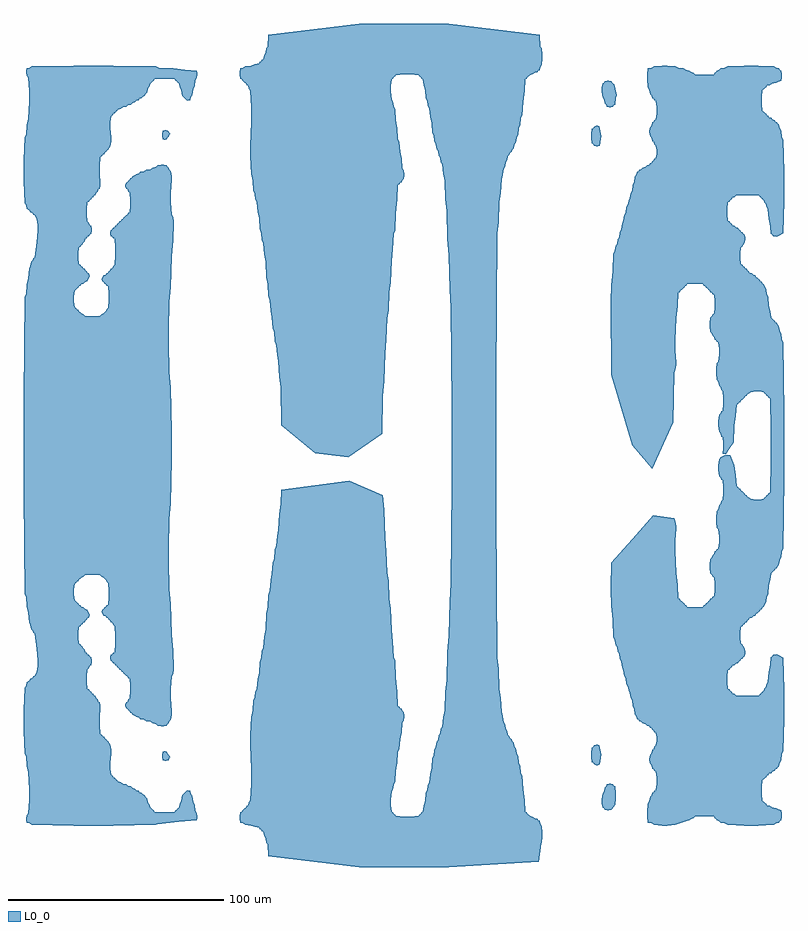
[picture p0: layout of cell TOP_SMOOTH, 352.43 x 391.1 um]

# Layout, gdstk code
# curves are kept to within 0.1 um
import gdstk
lib = gdstk.Library(unit=1e-6, precision=1e-09)
def P(c, l, *ps):  # polygons
    for p in ps: c.add(gdstk.Polygon(p, *l))
L0_0 = (0, 0)

top_smooth = lib.new_cell('TOP_SMOOTH')
P(top_smooth, L0_0, [(264.05,-385.05),(264.383,-384.717),(264.717,-382.017),(264.717,-379.983),(264.383,-376.95),(263.717,-375.95),(263.383,-374.617),(262.717,-374.283),(262.383,-373.617),(261.05,-373.283),(260.05,-372.617),(258.717,-372.283),(258.383,-371.617),(257.717,-371.283),(257.383,-370.617),(256.717,-370.283),(256.383,-364.95),(255.717,-359.95),(255.383,-353.617),(254.717,-352.283),(254.383,-349.283),(253.717,-347.617),(253.383,-344.617),(252.717,-343.283),(252.383,-340.95),(251.717,-339.95),(251.383,-338.283),(250.717,-337.617),(250.383,-336.617),(249.717,-336.283),(249.383,-335.283),(248.717,-334.617),(248.383,-332.95),(247.717,-331.95),(247.383,-329.95),(246.717,-328.95),(246.383,-325.95),(245.717,-323.95),(245.383,-317.617),(244.717,-313.283),(244.383,-303.95),(243.717,-298.95),(243.383,-231.65),(243.383,-169.35),(243.717,-102.05),(244.383,-97.05),(244.717,-87.717),(245.383,-83.383),(245.717,-77.05),(246.383,-75.05),(246.717,-72.05),(247.383,-71.05),(247.717,-69.05),(248.383,-68.05),(248.717,-66.383),(249.383,-65.717),(249.717,-64.717),(250.383,-64.383),(250.717,-63.383),(251.383,-62.717),(251.717,-61.05),(252.383,-60.05),(252.717,-57.717),(253.383,-56.383),(253.717,-53.383),(254.383,-51.717),(254.717,-48.717),(255.383,-47.383),(255.717,-41.05),(256.383,-36.05),(256.717,-30.717),(257.383,-30.383),(257.717,-29.717),(258.383,-29.383),(258.717,-28.717),(260.05,-28.383),(261.05,-27.717),(262.383,-27.383),(262.717,-26.717),(263.383,-26.383),(263.717,-25.05),(264.383,-24.05),(264.717,-21.017),(264.717,-18.983),(264.383,-16.283),(263.717,-15.617),(263.383,-9.95),(221.35,-4.95),(179.65,-4.95),(137.617,-9.95),(137.283,-15.617),(136.617,-16.283),(136.283,-18.283),(135.617,-19.617),(135.283,-21.283),(134.617,-21.617),(134.283,-22.283),(133.617,-22.617),(133.283,-23.283),(131.283,-23.617),(129.617,-24.283),(126.95,-24.617),(125.95,-25.283),(124.617,-25.617),(124.283,-27.317),(124.283,-28.683),(124.617,-30.383),(125.283,-30.717),(125.617,-31.383),(126.283,-31.717),(126.617,-32.383),(127.283,-32.717),(127.617,-33.383),(128.283,-33.717),(128.617,-35.05),(129.283,-36.05),(129.617,-43.683),(129.617,-50.317),(129.283,-61.65),(129.283,-66.35),(129.617,-74.383),(130.283,-77.717),(130.617,-82.383),(131.283,-83.717),(131.617,-86.383),(132.283,-87.717),(132.617,-92.05),(133.283,-95.05),(133.617,-100.05),(134.283,-102.05),(134.617,-105.383),(135.283,-106.717),(135.617,-111.717),(136.283,-115.383),(136.617,-122.383),(137.283,-125.717),(137.617,-131.05),(138.283,-133.05),(138.617,-138.05),(139.283,-141.05),(139.617,-146.05),(140.283,-148.05),(140.617,-152.05),(141.283,-154.05),(141.617,-158.717),(142.283,-161.383),(142.617,-168.717),(143.283,-173.383),(143.617,-191.017),(159.317,-203.983),(174.683,-205.983),(190.383,-195.017),(190.717,-177.383),(191.383,-170.717),(191.717,-157.717),(192.383,-151.383),(192.717,-141.383),(193.383,-137.717),(193.717,-129.383),(194.383,-124.717),(194.717,-114.717),(195.383,-109.383),(195.717,-102.383),(196.383,-100.717),(196.717,-92.717),(197.383,-86.383),(197.717,-79.717),(198.383,-79.383),(198.717,-78.717),(199.383,-78.383),(199.717,-77.383),(200.383,-76.717),(200.717,-75.35),(200.383,-72.95),(199.717,-71.95),(199.383,-67.617),(198.717,-64.283),(198.383,-59.617),(197.717,-58.283),(197.383,-53.283),(196.717,-49.617),(196.383,-44.617),(195.717,-43.283),(195.383,-40.95),(194.717,-39.95),(194.383,-36.317),(194.383,-33.683),(194.717,-30.717),(195.383,-30.383),(195.717,-29.717),(196.383,-29.383),(196.717,-28.717),(200.35,-28.383),(203.65,-28.383),(207.283,-28.717),(207.617,-29.383),(208.283,-29.717),(208.617,-30.383),(209.283,-30.717),(209.617,-33.383),(210.283,-35.717),(210.617,-39.383),(211.283,-40.717),(211.617,-43.05),(212.283,-44.05),(212.617,-48.05),(213.283,-51.05),(213.617,-55.383),(214.283,-56.717),(214.617,-59.383),(215.283,-60.717),(215.617,-63.05),(216.283,-64.05),(216.617,-66.05),(217.283,-67.05),(217.617,-69.05),(218.283,-70.05),(218.617,-74.383),(219.283,-77.717),(219.617,-86.383),(220.283,-91.717),(220.617,-104.717),(221.283,-112.383),(221.617,-128.383),(222.283,-136.717),(222.617,-182.017),(222.617,-218.983),(222.283,-264.283),(221.617,-272.617),(221.283,-288.617),(220.617,-296.283),(220.283,-309.283),(219.617,-314.617),(219.283,-323.283),(218.617,-326.617),(218.283,-330.95),(217.617,-331.95),(217.283,-333.95),(216.617,-334.95),(216.283,-336.95),(215.617,-337.95),(215.283,-340.283),(214.617,-341.617),(214.283,-344.283),(213.617,-345.617),(213.283,-349.95),(212.617,-352.95),(212.283,-356.95),(211.617,-357.95),(211.283,-360.283),(210.617,-361.617),(210.283,-365.283),(209.617,-367.617),(209.283,-370.283),(208.617,-370.617),(208.283,-371.283),(207.617,-371.617),(207.283,-372.283),(203.65,-372.617),(200.35,-372.617),(196.717,-372.283),(196.383,-371.617),(195.717,-371.283),(195.383,-370.617),(194.717,-370.283),(194.383,-367.317),(194.383,-364.683),(194.717,-361.05),(195.383,-360.05),(195.717,-357.717),(196.383,-356.383),(196.717,-351.383),(197.383,-347.717),(197.717,-342.717),(198.383,-341.383),(198.717,-336.717),(199.383,-333.383),(199.717,-329.05),(200.383,-328.05),(200.717,-325.65),(200.383,-324.283),(199.717,-323.617),(199.383,-322.617),(198.717,-322.283),(198.383,-321.617),(197.717,-321.283),(197.383,-314.617),(196.717,-308.283),(196.383,-300.283),(195.717,-298.617),(195.383,-291.617),(194.717,-286.283),(194.383,-276.283),(193.717,-271.617),(193.383,-263.283),(192.717,-259.617),(192.383,-249.617),(191.717,-243.283),(191.383,-230.283),(190.717,-223.617),(175.017,-216.95),(143.617,-220.95),(143.283,-227.617),(142.617,-232.283),(142.283,-239.617),(141.617,-242.283),(141.283,-246.95),(140.617,-248.95),(140.283,-252.95),(139.617,-254.95),(139.283,-259.95),(138.617,-262.95),(138.283,-267.95),(137.617,-269.95),(137.283,-275.283),(136.617,-278.617),(136.283,-285.617),(135.617,-289.283),(135.283,-294.283),(134.617,-295.617),(134.283,-298.95),(133.617,-300.95),(133.283,-305.95),(132.617,-308.95),(132.283,-313.283),(131.617,-314.617),(131.283,-317.283),(130.617,-318.617),(130.283,-323.283),(129.617,-326.617),(129.283,-334.65),(129.617,-357.317),(129.283,-364.95),(128.617,-365.95),(128.283,-367.283),(127.617,-367.617),(127.283,-368.283),(126.617,-368.617),(126.283,-369.283),(125.617,-369.617),(125.283,-370.283),(124.617,-370.617),(124.283,-372.317),(124.283,-373.683),(124.617,-375.383),(125.95,-375.717),(126.95,-376.383),(129.617,-376.717),(131.283,-377.383),(133.283,-377.717),(133.617,-378.383),(134.283,-378.717),(134.617,-379.383),(135.283,-379.717),(135.617,-381.383),(136.283,-382.717),(136.617,-384.717),(137.283,-385.383),(137.617,-391.05),(179.65,-396.05),(221.35,-396.05),(263.05,-393.55)],
  [(330.55,-375.05),(331.05,-374.717),(332.717,-374.383),(333.383,-373.717),(334.717,-373.383),(335.383,-372.717),(338.683,-372.383),(341.317,-372.383),(344.283,-372.717),(344.617,-373.383),(345.283,-373.717),(345.617,-374.383),(346.617,-374.717),(347.283,-375.383),(349.283,-375.717),(350.617,-376.383),(358.317,-376.717),(364.683,-376.717),(372.05,-376.383),(373.05,-375.717),(374.383,-375.383),(374.717,-374.717),(375.383,-374.383),(375.717,-372.683),(375.717,-371.317),(375.383,-369.617),(374.05,-369.283),(373.05,-368.617),(371.05,-368.283),(370.05,-367.617),(368.717,-367.283),(368.383,-366.617),(367.717,-366.283),(367.383,-365.617),(366.717,-365.283),(366.383,-361.983),(366.383,-359.017),(366.717,-355.717),(367.383,-355.383),(367.717,-354.717),(368.383,-354.383),(368.717,-353.717),(369.383,-353.383),(369.717,-352.717),(370.717,-352.383),(371.383,-351.717),(372.383,-351.383),(372.717,-350.717),(373.383,-350.383),(373.717,-349.717),(374.383,-349.383),(374.717,-347.717),(375.383,-346.383),(375.717,-343.717),(376.383,-342.383),(376.717,-327.35),(376.717,-313.65),(376.383,-298.95),(373.317,-297.283),(371.617,-297.617),(371.283,-298.283),(370.617,-298.617),(370.283,-302.283),(369.617,-305.617),(369.283,-309.95),(368.617,-310.95),(368.283,-312.617),(367.617,-313.283),(367.283,-314.283),(366.617,-314.617),(366.283,-315.283),(365.617,-315.617),(365.283,-316.283),(361.65,-316.617),(358.35,-316.617),(354.383,-316.283),(353.717,-315.617),(352.717,-315.283),(352.383,-314.617),(351.717,-314.283),(351.383,-313.617),(350.717,-313.283),(350.383,-310.317),(350.383,-307.683),(350.717,-304.717),(351.383,-304.383),(351.717,-303.717),(352.383,-303.383),(352.717,-302.717),(353.717,-302.383),(354.383,-301.717),(355.383,-301.383),(355.717,-300.717),(356.383,-300.383),(356.717,-299.717),(357.383,-299.383),(357.717,-298.717),(358.383,-298.383),(358.717,-297.017),(358.717,-295.983),(358.383,-294.283),(357.717,-293.617),(357.383,-292.617),(356.717,-292.283),(356.383,-289.65),(356.383,-287.35),(356.717,-284.717),(357.383,-284.383),(357.717,-283.717),(358.383,-283.383),(358.717,-282.717),(359.383,-282.383),(359.717,-281.717),(360.383,-281.383),(360.717,-280.717),(361.717,-280.383),(362.383,-279.717),(363.383,-279.383),(363.717,-278.717),(364.383,-278.383),(364.717,-277.717),(365.383,-277.383),(365.717,-276.717),(366.383,-276.383),(366.717,-275.717),(367.383,-275.383),(367.717,-274.05),(368.383,-273.05),(368.717,-270.717),(369.383,-269.383),(369.717,-265.383),(370.383,-262.717),(370.717,-259.717),(371.383,-259.383),(371.717,-258.717),(372.383,-258.383),(372.717,-257.717),(373.383,-257.383),(373.717,-256.383),(374.383,-255.717),(374.717,-253.717),(375.383,-252.383),(375.717,-249.717),(376.383,-248.383),(376.717,-216.017),(376.717,-184.983),(376.383,-152.617),(375.717,-151.283),(375.383,-148.617),(374.717,-147.283),(374.383,-145.283),(373.717,-144.617),(373.383,-143.617),(372.717,-143.283),(372.383,-142.617),(371.717,-142.283),(371.383,-141.617),(370.717,-141.283),(370.383,-138.283),(369.717,-135.617),(369.383,-131.617),(368.717,-130.283),(368.383,-127.95),(367.717,-126.95),(367.383,-125.617),(366.717,-125.283),(366.383,-124.617),(365.717,-124.283),(365.383,-123.617),(364.717,-123.283),(364.383,-122.617),(363.717,-122.283),(363.383,-121.617),(362.383,-121.283),(361.717,-120.617),(360.717,-120.283),(360.383,-119.617),(359.717,-119.283),(359.383,-118.617),(358.717,-118.283),(358.383,-117.617),(357.717,-117.283),(357.383,-116.617),(356.717,-116.283),(356.383,-113.65),(356.383,-111.35),(356.717,-108.717),(357.383,-108.383),(357.717,-107.383),(358.383,-106.717),(358.717,-105.017),(358.717,-103.983),(358.383,-102.617),(357.717,-102.283),(357.383,-101.617),(356.717,-101.283),(356.383,-100.617),(355.717,-100.283),(355.383,-99.617),(354.383,-99.283),(353.717,-98.617),(352.717,-98.283),(352.383,-97.617),(351.717,-97.283),(351.383,-96.617),(350.717,-96.283),(350.383,-93.317),(350.383,-90.683),(350.717,-87.717),(351.383,-87.383),(351.717,-86.717),(352.383,-86.383),(352.717,-85.717),(353.717,-85.383),(354.383,-84.717),(358.35,-84.383),(361.65,-84.383),(365.283,-84.717),(365.617,-85.383),(366.283,-85.717),(366.617,-86.383),(367.283,-86.717),(367.617,-87.717),(368.283,-88.383),(368.617,-90.05),(369.283,-91.05),(369.617,-95.383),(370.283,-98.717),(370.617,-102.383),(371.283,-102.717),(371.617,-103.383),(373.317,-103.717),(376.383,-102.05),(376.717,-87.35),(376.717,-73.65),(376.383,-58.617),(375.717,-57.283),(375.383,-54.617),(374.717,-53.283),(374.383,-51.617),(373.717,-51.283),(373.383,-50.617),(372.717,-50.283),(372.383,-49.617),(371.383,-49.283),(370.717,-48.617),(369.717,-48.283),(369.383,-47.617),(368.717,-47.283),(368.383,-46.617),(367.717,-46.283),(367.383,-45.617),(366.717,-45.283),(366.383,-41.983),(366.383,-39.017),(366.717,-35.717),(367.383,-35.383),(367.717,-34.717),(368.383,-34.383),(368.717,-33.717),(370.05,-33.383),(371.05,-32.717),(373.05,-32.383),(374.05,-31.717),(375.383,-31.383),(375.717,-29.683),(375.717,-28.317),(375.383,-26.617),(374.717,-26.283),(374.383,-25.617),(373.05,-25.283),(372.05,-24.617),(364.683,-24.283),(358.317,-24.283),(350.617,-24.617),(349.283,-25.283),(347.283,-25.617),(346.617,-26.283),(345.617,-26.617),(345.283,-27.283),(344.617,-27.617),(344.283,-28.283),(341.317,-28.617),(338.683,-28.617),(335.383,-28.283),(334.717,-27.617),(333.383,-27.283),(332.717,-26.617),(331.05,-26.283),(330.05,-25.617),(327.717,-25.283),(326.383,-24.617),(322.683,-24.283),(320.317,-24.283),(316.617,-24.617),(315.283,-25.283),(313.617,-25.617),(313.283,-28.317),(313.283,-30.683),(313.617,-34.383),(314.283,-35.717),(314.617,-37.717),(315.283,-38.383),(315.617,-39.383),(316.283,-39.717),(316.617,-40.383),(317.283,-40.717),(317.617,-43.683),(317.617,-46.317),(317.283,-49.283),(316.617,-49.617),(316.283,-50.283),(315.617,-50.617),(315.283,-51.95),(314.617,-52.95),(314.283,-54.65),(314.617,-57.05),(315.283,-58.05),(315.617,-59.383),(316.283,-59.717),(316.617,-60.717),(317.283,-61.383),(317.617,-63.683),(317.617,-65.317),(317.283,-67.283),(316.617,-67.617),(316.283,-68.283),(315.617,-68.617),(315.283,-69.283),(314.617,-69.617),(314.283,-70.283),(313.283,-70.617),(312.617,-71.283),(311.283,-71.617),(310.617,-72.283),(309.617,-72.617),(309.283,-73.283),(308.617,-73.617),(308.283,-74.95),(307.617,-75.95),(307.283,-78.283),(306.617,-79.617),(306.283,-82.283),(305.617,-83.617),(305.283,-85.95),(304.617,-86.95),(304.283,-88.95),(303.617,-89.95),(303.283,-92.283),(302.617,-93.617),(302.283,-96.283),(301.617,-97.617),(301.283,-100.283),(300.617,-101.617),(300.283,-103.95),(299.617,-104.95),(299.283,-106.95),(298.617,-107.95),(298.283,-110.283),(297.617,-111.617),(297.283,-119.617),(296.617,-126.283),(296.283,-133.65),(296.617,-167.683),(306.317,-200.317),(315.683,-211.317),(325.383,-189.683),(325.717,-166.717),(326.383,-165.383),(326.717,-163.017),(326.383,-156.317),(326.383,-151.683),(326.717,-141.383),(327.383,-135.717),(327.717,-129.717),(328.383,-129.383),(328.717,-128.717),(329.383,-128.383),(329.717,-127.717),(330.383,-127.383),(330.717,-126.717),(331.383,-126.383),(331.717,-125.717),(334.35,-125.383),(336.65,-125.383),(339.283,-125.717),(339.617,-126.383),(340.283,-126.717),(340.617,-127.383),(341.283,-127.717),(341.617,-128.383),(342.283,-128.717),(342.617,-129.383),(343.283,-129.717),(343.617,-130.383),(344.283,-130.717),(344.617,-133.683),(344.617,-136.317),(344.283,-139.283),(343.617,-139.617),(343.283,-140.617),(342.617,-141.283),(342.283,-143.65),(342.283,-145.35),(342.617,-147.717),(343.283,-148.383),(343.617,-149.717),(344.283,-150.383),(344.617,-151.383),(345.283,-151.717),(345.617,-152.383),(346.283,-152.717),(346.617,-155.683),(346.617,-158.317),(346.283,-161.617),(345.617,-162.283),(345.283,-164.983),(345.283,-167.017),(345.617,-170.05),(346.283,-171.05),(346.617,-172.717),(347.283,-173.383),(347.617,-174.717),(348.283,-175.383),(348.617,-178.683),(348.617,-181.317),(348.283,-184.283),(347.617,-184.617),(347.283,-185.617),(346.617,-186.283),(346.283,-188.983),(346.283,-191.017),(346.617,-194.05),(347.283,-195.05),(347.617,-196.383),(348.283,-196.717),(348.617,-199.35),(348.617,-201.65),(348.283,-204.283),(349.65,-204.617),(353.383,-199.017),(353.717,-191.383),(354.383,-186.717),(354.717,-181.717),(355.383,-181.383),(355.717,-180.717),(356.383,-180.383),(356.717,-179.717),(357.383,-179.383),(357.717,-178.717),(358.383,-178.383),(358.717,-177.717),(359.383,-177.383),(359.717,-176.717),(360.717,-176.383),(361.383,-175.717),(363.683,-175.383),(365.317,-175.383),(367.283,-175.717),(367.617,-176.383),(368.283,-176.717),(368.617,-177.383),(369.283,-177.717),(369.617,-178.383),(370.283,-178.717),(370.617,-193.35),(370.617,-207.65),(370.283,-222.283),(369.617,-222.617),(369.283,-223.283),(368.617,-223.617),(368.283,-224.283),(367.617,-224.617),(367.283,-225.283),(365.317,-225.617),(363.683,-225.617),(361.383,-225.283),(360.717,-224.617),(359.717,-224.283),(359.383,-223.617),(358.717,-223.283),(358.383,-222.617),(357.717,-222.283),(357.383,-221.617),(356.717,-221.283),(356.383,-220.617),(355.717,-220.283),(355.383,-219.617),(354.717,-219.283),(354.383,-214.283),(353.717,-209.617),(351.683,-204.95),(349.317,-204.95),(347.283,-205.95),(346.617,-206.95),(346.283,-209.983),(346.283,-212.017),(346.617,-214.717),(347.283,-215.383),(347.617,-216.383),(348.283,-216.717),(348.617,-219.683),(348.617,-222.317),(348.283,-225.617),(347.617,-226.283),(347.283,-227.617),(346.617,-228.283),(346.283,-229.95),(345.617,-230.95),(345.283,-233.983),(345.283,-236.017),(345.617,-238.717),(346.283,-239.383),(346.617,-242.683),(346.617,-245.317),(346.283,-248.283),(345.617,-248.617),(345.283,-249.283),(344.617,-249.617),(344.283,-250.617),(343.617,-251.283),(343.283,-252.617),(342.617,-253.283),(342.283,-255.65),(342.283,-257.35),(342.617,-259.717),(343.283,-260.383),(343.617,-261.383),(344.283,-261.717),(344.617,-264.683),(344.617,-267.317),(344.283,-270.283),(343.617,-270.617),(343.283,-271.283),(342.617,-271.617),(342.283,-272.283),(341.617,-272.617),(341.283,-273.283),(340.617,-273.617),(340.283,-274.283),(339.617,-274.617),(339.283,-275.283),(336.65,-275.617),(334.35,-275.617),(331.717,-275.283),(331.383,-274.617),(330.717,-274.283),(330.383,-273.617),(329.717,-273.283),(329.383,-272.617),(328.717,-272.283),(328.383,-271.617),(327.717,-271.283),(327.383,-265.283),(326.717,-259.617),(326.383,-249.317),(326.383,-244.683),(326.717,-237.983),(326.383,-235.617),(325.717,-234.283),(316.017,-232.95),(296.617,-254.95),(296.283,-267.35),(296.617,-274.717),(297.283,-281.383),(297.617,-289.383),(298.283,-290.717),(298.617,-293.05),(299.283,-294.05),(299.617,-296.05),(300.283,-297.05),(300.617,-299.383),(301.283,-300.717),(301.617,-303.383),(302.283,-304.717),(302.617,-307.383),(303.283,-308.717),(303.617,-311.05),(304.283,-312.05),(304.617,-314.05),(305.283,-315.05),(305.617,-317.383),(306.283,-318.717),(306.617,-321.383),(307.283,-322.717),(307.617,-325.05),(308.283,-326.05),(308.617,-327.383),(309.283,-327.717),(309.617,-328.383),(310.617,-328.717),(311.283,-329.383),(312.617,-329.717),(313.283,-330.383),(314.283,-330.717),(314.617,-331.383),(315.283,-331.717),(315.617,-332.383),(316.283,-332.717),(316.617,-333.383),(317.283,-333.717),(317.617,-335.683),(317.617,-337.317),(317.283,-339.617),(316.617,-340.283),(316.283,-341.283),(315.617,-341.617),(315.283,-342.95),(314.617,-343.95),(314.283,-345.65),(314.617,-348.05),(315.283,-349.05),(315.617,-350.383),(316.283,-350.717),(316.617,-351.383),(317.283,-351.717),(317.617,-354.683),(317.617,-357.317),(317.283,-360.283),(316.617,-360.617),(316.283,-361.283),(315.617,-361.617),(315.283,-362.617),(314.617,-363.283),(314.283,-365.283),(313.617,-366.617),(313.283,-370.317),(313.283,-372.683),(313.617,-375.383),(315.283,-375.717),(316.617,-376.383),(320.317,-376.717),(322.683,-376.717),(326.383,-376.383),(327.05,-376.05)],
  [(96.05,-375.05),(98.717,-374.717),(104.383,-374.383),(104.717,-373.35),(104.383,-370.95),(103.717,-369.95),(103.383,-367.283),(102.717,-365.617),(102.383,-362.95),(101.717,-361.95),(101.383,-360.617),(100.017,-360.283),(97.617,-362.617),(97.283,-365.283),(96.617,-366.617),(96.283,-368.283),(95.617,-368.617),(95.283,-369.283),(94.617,-369.617),(94.283,-370.283),(90.983,-370.617),(88.017,-370.617),(84.717,-370.283),(84.383,-369.617),(83.717,-369.283),(83.383,-368.617),(82.717,-368.283),(82.383,-366.95),(81.717,-365.95),(81.383,-364.283),(80.717,-363.617),(80.383,-362.617),(79.383,-362.283),(78.717,-361.617),(77.717,-361.283),(77.383,-360.617),(76.383,-360.283),(75.717,-359.617),(74.383,-359.283),(73.717,-358.617),(72.383,-358.283),(71.717,-357.617),(70.05,-357.283),(69.05,-356.617),(67.717,-356.283),(67.383,-355.617),(66.717,-355.283),(66.383,-354.617),(65.717,-354.283),(65.383,-353.617),(64.717,-353.283),(64.383,-350.317),(64.383,-347.683),(64.717,-341.65),(64.383,-339.283),(63.717,-338.617),(63.383,-337.617),(62.717,-337.283),(62.383,-336.617),(61.717,-336.283),(61.383,-335.617),(60.717,-335.283),(60.383,-334.617),(59.717,-334.283),(59.383,-330.317),(59.383,-326.683),(59.717,-320.983),(59.383,-319.617),(58.717,-319.283),(58.383,-318.283),(57.717,-317.617),(57.383,-316.617),(56.717,-316.283),(56.383,-315.617),(55.717,-315.283),(55.383,-314.617),(54.717,-314.283),(54.383,-313.617),(53.717,-313.283),(53.383,-310.317),(53.383,-307.683),(53.717,-304.383),(54.383,-303.717),(54.717,-302.717),(55.383,-302.383),(55.717,-301.017),(55.717,-299.983),(55.383,-298.617),(54.717,-298.283),(54.383,-297.617),(53.717,-297.283),(53.383,-296.617),(52.717,-296.283),(52.383,-295.283),(51.717,-294.617),(51.383,-293.617),(50.717,-293.283),(50.383,-292.617),(49.717,-292.283),(49.383,-289.65),(49.383,-287.35),(49.717,-284.717),(50.383,-284.383),(50.717,-283.717),(51.383,-283.383),(51.717,-282.717),(52.383,-282.383),(52.717,-281.717),(53.383,-281.383),(53.717,-280.717),(54.383,-280.383),(54.717,-279.017),(53.717,-276.617),(52.383,-276.283),(51.717,-275.617),(50.717,-275.283),(50.383,-274.617),(49.717,-274.283),(49.383,-273.617),(48.717,-273.283),(48.383,-272.617),(47.717,-272.283),(47.383,-269.65),(47.383,-267.35),(47.717,-264.717),(48.383,-264.383),(48.717,-263.717),(49.383,-263.383),(49.717,-262.717),(50.383,-262.383),(50.717,-261.717),(51.717,-261.383),(52.383,-260.717),(55.017,-260.383),(56.983,-260.383),(59.617,-260.717),(60.283,-261.383),(61.283,-261.717),(61.617,-262.383),(62.283,-262.717),(62.617,-263.717),(63.283,-264.383),(63.617,-268.017),(63.617,-270.983),(63.283,-274.283),(62.617,-274.617),(62.283,-275.283),(61.617,-275.617),(61.283,-276.283),(60.617,-276.617),(60.283,-277.65),(61.283,-279.383),(62.283,-279.717),(62.617,-280.383),(63.283,-280.717),(63.617,-281.383),(64.283,-281.717),(64.617,-282.383),(65.283,-282.717),(65.617,-283.717),(66.283,-284.383),(66.617,-288.683),(66.617,-292.317),(66.283,-296.283),(65.617,-296.617),(65.283,-297.283),(64.617,-297.617),(64.283,-298.65),(64.283,-299.35),(64.617,-300.383),(65.283,-300.717),(65.617,-301.383),(66.283,-301.717),(66.617,-302.383),(67.283,-302.717),(67.617,-303.383),(68.283,-303.717),(68.617,-304.383),(69.283,-304.717),(69.617,-305.383),(70.283,-305.717),(70.617,-306.383),(71.283,-306.717),(71.617,-307.383),(72.283,-307.717),(72.617,-308.383),(73.283,-308.717),(73.617,-311.683),(73.617,-314.317),(73.283,-317.617),(72.617,-318.283),(72.283,-319.283),(71.617,-319.617),(71.283,-320.65),(71.283,-321.35),(71.617,-322.383),(72.283,-322.717),(72.617,-323.383),(73.283,-323.717),(73.617,-324.383),(74.283,-324.717),(74.617,-325.383),(75.617,-325.717),(76.283,-326.383),(77.617,-326.717),(78.283,-327.383),(79.95,-327.717),(80.95,-328.383),(82.95,-328.717),(83.95,-329.383),(85.617,-329.717),(86.283,-330.383),(87.983,-330.717),(89.017,-330.717),(90.383,-330.383),(90.717,-329.717),(91.383,-329.383),(91.717,-328.383),(92.383,-327.717),(92.717,-325.35),(92.383,-317.65),(92.383,-313.35),(92.717,-307.717),(93.383,-306.383),(93.717,-304.35),(93.383,-295.617),(92.717,-288.283),(92.383,-273.95),(91.717,-266.95),(91.383,-253.983),(91.383,-248.017),(91.717,-234.717),(92.383,-227.383),(92.717,-207.017),(92.717,-193.983),(92.383,-173.617),(91.717,-166.283),(91.383,-152.983),(91.383,-147.017),(91.717,-134.05),(92.383,-127.05),(92.717,-112.717),(93.383,-105.383),(93.717,-97.35),(93.383,-94.617),(92.717,-93.283),(92.383,-87.65),(92.383,-83.35),(92.717,-77.35),(92.717,-75.65),(92.383,-73.283),(91.717,-72.617),(91.383,-71.617),(90.717,-71.283),(90.383,-70.617),(89.017,-70.283),(87.983,-70.283),(86.283,-70.617),(85.617,-71.283),(83.95,-71.617),(82.95,-72.283),(80.95,-72.617),(79.95,-73.283),(78.283,-73.617),(77.617,-74.283),(76.283,-74.617),(75.617,-75.283),(74.617,-75.617),(74.283,-76.283),(73.617,-76.617),(73.283,-77.283),(72.617,-77.617),(72.283,-78.283),(71.617,-78.617),(71.283,-79.65),(71.283,-80.35),(71.617,-81.383),(72.283,-81.717),(72.617,-82.717),(73.283,-83.383),(73.617,-86.683),(73.617,-89.317),(73.283,-92.283),(72.617,-92.617),(72.283,-93.283),(71.617,-93.617),(71.283,-94.283),(70.617,-94.617),(70.283,-95.283),(69.617,-95.617),(69.283,-96.283),(68.617,-96.617),(68.283,-97.283),(67.617,-97.617),(67.283,-98.283),(66.617,-98.617),(66.283,-99.283),(65.617,-99.617),(65.283,-100.283),(64.617,-100.617),(64.283,-101.65),(64.283,-102.35),(64.617,-103.383),(65.283,-103.717),(65.617,-104.383),(66.283,-104.717),(66.617,-108.683),(66.617,-112.317),(66.283,-116.617),(65.617,-117.283),(65.283,-118.283),(64.617,-118.617),(64.283,-119.283),(63.617,-119.617),(63.283,-120.283),(62.617,-120.617),(62.283,-121.283),(61.283,-121.617),(60.283,-123.35),(60.617,-124.383),(61.283,-124.717),(61.617,-125.383),(62.283,-125.717),(62.617,-126.383),(63.283,-126.717),(63.617,-130.017),(63.617,-132.983),(63.283,-136.617),(62.617,-137.283),(62.283,-138.283),(61.617,-138.617),(61.283,-139.283),(60.283,-139.617),(59.617,-140.283),(56.983,-140.617),(55.017,-140.617),(52.383,-140.283),(51.717,-139.617),(50.717,-139.283),(50.383,-138.617),(49.717,-138.283),(49.383,-137.617),(48.717,-137.283),(48.383,-136.617),(47.717,-136.283),(47.383,-133.65),(47.383,-131.35),(47.717,-128.717),(48.383,-128.383),(48.717,-127.717),(49.383,-127.383),(49.717,-126.717),(50.383,-126.383),(50.717,-125.717),(51.717,-125.383),(52.383,-124.717),(53.717,-124.383),(54.717,-121.983),(54.383,-120.617),(53.717,-120.283),(53.383,-119.617),(52.717,-119.283),(52.383,-118.617),(51.717,-118.283),(51.383,-117.617),(50.717,-117.283),(50.383,-116.617),(49.717,-116.283),(49.383,-113.65),(49.383,-111.35),(49.717,-108.717),(50.383,-108.383),(50.717,-107.717),(51.383,-107.383),(51.717,-106.383),(52.383,-105.717),(52.717,-104.717),(53.383,-104.383),(53.717,-103.717),(54.383,-103.383),(54.717,-102.717),(55.383,-102.383),(55.717,-101.017),(55.717,-99.983),(55.383,-98.617),(54.717,-98.283),(54.383,-97.283),(53.717,-96.617),(53.383,-93.317),(53.383,-90.683),(53.717,-87.717),(54.383,-87.383),(54.717,-86.717),(55.383,-86.383),(55.717,-85.717),(56.383,-85.383),(56.717,-84.717),(57.383,-84.383),(57.717,-83.383),(58.383,-82.717),(58.717,-81.717),(59.383,-81.383),(59.717,-80.017),(59.383,-74.317),(59.383,-70.683),(59.717,-66.717),(60.383,-66.383),(60.717,-65.717),(61.383,-65.383),(61.717,-64.717),(62.383,-64.383),(62.717,-63.717),(63.383,-63.383),(63.717,-62.383),(64.383,-61.717),(64.717,-59.35),(64.383,-53.317),(64.383,-50.683),(64.717,-47.717),(65.383,-47.383),(65.717,-46.717),(66.383,-46.383),(66.717,-45.717),(67.383,-45.383),(67.717,-44.717),(69.05,-44.383),(70.05,-43.717),(71.717,-43.383),(72.383,-42.717),(73.717,-42.383),(74.383,-41.717),(75.717,-41.383),(76.383,-40.717),(77.383,-40.383),(77.717,-39.717),(78.717,-39.383),(79.383,-38.717),(80.383,-38.383),(80.717,-37.383),(81.383,-36.717),(81.717,-35.05),(82.383,-34.05),(82.717,-32.717),(83.383,-32.383),(83.717,-31.717),(84.383,-31.383),(84.717,-30.717),(88.017,-30.383),(90.983,-30.383),(94.283,-30.717),(94.617,-31.383),(95.283,-31.717),(95.617,-32.383),(96.283,-32.717),(96.617,-34.383),(97.283,-35.717),(97.617,-38.383),(100.017,-40.717),(101.383,-40.383),(101.717,-39.05),(102.383,-38.05),(102.717,-35.383),(103.383,-33.717),(103.717,-31.05),(104.383,-30.05),(104.717,-27.65),(104.383,-26.617),(98.717,-26.283),(93.383,-25.617),(86.717,-25.283),(85.383,-24.617),(65.683,-24.283),(47.317,-24.283),(27.95,-24.617),(26.95,-25.283),(25.617,-25.617),(25.283,-26.65),(25.617,-29.05),(26.283,-30.05),(26.617,-36.017),(26.617,-40.983),(26.283,-48.95),(25.617,-51.95),(25.283,-56.283),(24.617,-57.617),(24.283,-68.317),(24.283,-77.683),(24.617,-88.05),(25.283,-89.05),(25.617,-90.717),(26.617,-91.383),(27.283,-92.383),(28.283,-92.717),(28.617,-93.383),(29.283,-93.717),(29.617,-94.717),(30.283,-95.383),(30.617,-98.35),(30.617,-100.65),(30.283,-106.283),(29.617,-109.617),(29.283,-113.283),(28.617,-113.617),(28.283,-114.617),(27.617,-115.283),(27.283,-117.283),(26.617,-118.617),(26.283,-122.95),(25.617,-125.95),(25.283,-130.283),(24.617,-131.617),(24.283,-177.983),(24.283,-223.017),(24.617,-269.383),(25.283,-270.717),(25.617,-275.05),(26.283,-278.05),(26.617,-282.383),(27.283,-283.717),(27.617,-285.717),(28.283,-286.383),(28.617,-287.383),(29.283,-287.717),(29.617,-291.383),(30.283,-294.717),(30.617,-302.65),(30.283,-305.617),(29.617,-306.283),(29.283,-307.283),(28.617,-307.617),(28.283,-308.283),(27.283,-308.617),(26.617,-309.617),(25.617,-310.283),(25.283,-311.95),(24.617,-312.95),(24.283,-323.317),(24.283,-332.683),(24.617,-343.383),(25.283,-344.717),(25.617,-349.05),(26.283,-352.05),(26.617,-360.017),(26.617,-364.983),(26.283,-370.95),(25.617,-371.95),(25.283,-374.35),(25.617,-375.383),(26.95,-375.717),(27.95,-376.383),(47.317,-376.717),(65.683,-376.717),(85.383,-376.383),(86.05,-376.05)],
  [(298.05,-32.95),(297.383,-32.617),(296.717,-31.617),(295.35,-31.283),(294.65,-31.283),(293.617,-31.617),(293.283,-32.283),(292.617,-32.617),(292.283,-34.65),(292.283,-36.35),(292.617,-39.05),(293.283,-40.05),(293.617,-41.717),(294.283,-42.383),(294.617,-43.383),(295.65,-43.717),(296.35,-43.717),(297.383,-43.383),(297.717,-42.717),(298.383,-42.383),(298.717,-39.35),(299.05,-38)],
  [(291.05,-52.45),(289.65,-52.283),(288.617,-52.617),(288.283,-53.283),(287.617,-53.617),(287.283,-55.983),(287.283,-58.017),(287.617,-60.383),(288.283,-60.717),(288.617,-61.383),(289.65,-61.717),(290.35,-61.717),(291.383,-61.383),(291.717,-58.35),(292.05,-57)],
  [(91.05,-54.45),(89.65,-54.283),(88.617,-54.617),(88.283,-55.983),(88.283,-57.017),(88.617,-58.383),(89.317,-58.717),(89.683,-58.717),(90.383,-58.383),(90.717,-57.717),(91.383,-57.383),(91.717,-56.35),(92.05,-56)],
  [(291.05,-339.45),(289.65,-339.283),(288.617,-339.617),(288.283,-340.283),(287.617,-340.617),(287.283,-342.983),(287.283,-345.017),(287.617,-347.383),(288.283,-347.717),(288.617,-348.383),(289.65,-348.717),(290.35,-348.717),(291.383,-348.383),(291.717,-345.35),(292.05,-344)],
  [(91.05,-343.45),(90.717,-343.283),(90.383,-342.617),(89.683,-342.283),(89.317,-342.283),(88.617,-342.617),(88.283,-343.983),(88.283,-345.017),(88.617,-346.383),(89.65,-346.717),(90.35,-346.717),(91.383,-346.383),(91.717,-345.35),(92.05,-345)],
  [(298.55,-367.05),(298.717,-361.65),(298.383,-358.617),(297.717,-358.283),(297.383,-357.617),(296.35,-357.283),(295.65,-357.283),(294.617,-357.617),(294.283,-358.617),(293.617,-359.283),(293.283,-360.95),(292.617,-361.95),(292.283,-364.65),(292.283,-366.35),(292.617,-368.383),(293.283,-368.717),(293.617,-369.383),(294.65,-369.717),(295.35,-369.717),(296.717,-369.383)])

lib.write_gds('TOP_SMOOTH.gds')
